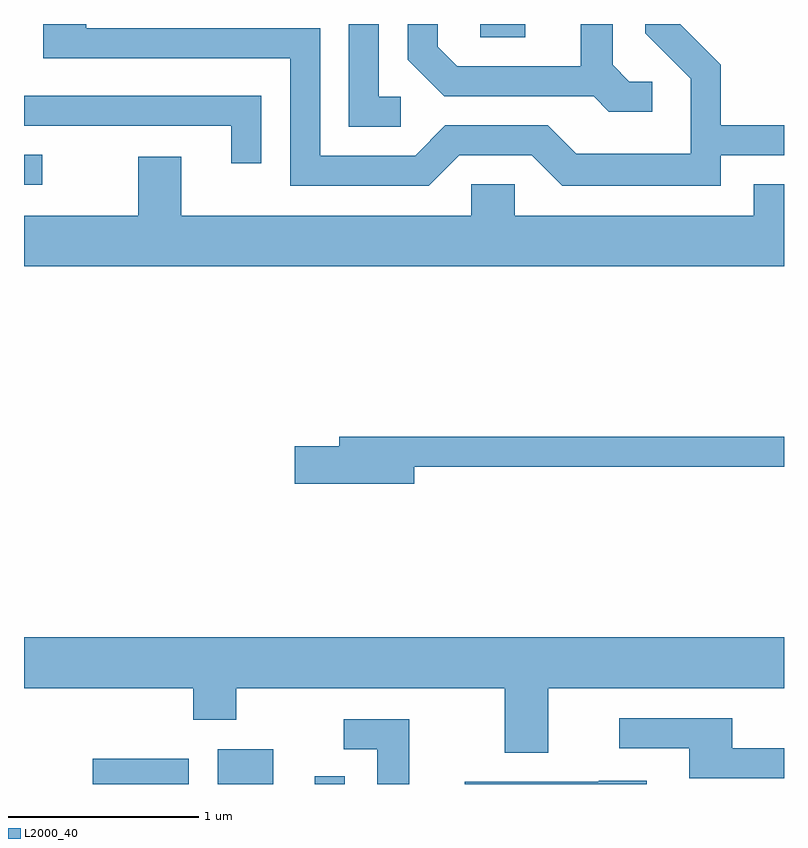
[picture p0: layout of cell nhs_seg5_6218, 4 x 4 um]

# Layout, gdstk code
import gdstk
lib = gdstk.Library(unit=1e-6, precision=1e-09)
def R(c, l, rs):  # rectangles x0, y0, x1, y1
    for r in rs: c.add(gdstk.rectangle(r[:2], r[2:], *l))
def P(c, l, *ps):  # polygons
    for p in ps: c.add(gdstk.Polygon(p, *l))
L2000_40 = (2000, 40)

nhs_seg5_6218 = lib.new_cell('nhs_seg5_6218')
R(nhs_seg5_6218, L2000_40, [(369.973,1454.072,370.479,1454.204), (370.631,1454.072,370.924,1454.254), (371.141,1454.072,371.299,1454.113), (369.611,1457.226,369.708,1457.384), (372.011,1458.001,372.249,1458.072)])
P(nhs_seg5_6218, L2000_40, [(371.902,1457.381),(372.284,1457.381),(372.444,1457.221),(373.279,1457.221),(373.279,1457.381),(373.611,1457.381),(373.611,1457.539),(373.279,1457.539),(373.279,1457.857),(373.064,1458.072),(372.881,1458.072),(372.881,1458.024),(373.121,1457.784),(373.121,1457.389),(372.517,1457.389),(372.367,1457.539),(371.829,1457.539),(371.669,1457.379),(371.169,1457.379),(371.169,1458.049),(369.939,1458.049),(369.939,1458.072),(369.711,1458.072),(369.711,1457.891),(371.011,1457.891),(371.011,1457.221),(371.742,1457.221)],
  [(371.593,1457.689),(371.479,1457.689),(371.479,1458.072),(371.321,1458.072),(371.321,1457.531),(371.593,1457.531)],
  [(372.918,1457.769),(372.797,1457.769),(372.709,1457.857),(372.709,1458.072),(372.541,1458.072),(372.541,1457.849),(371.892,1457.849),(371.789,1457.952),(371.789,1458.072),(371.631,1458.072),(371.631,1457.884),(371.824,1457.691),(372.609,1457.691),(372.689,1457.611),(372.918,1457.611)],
  [(370.859,1457.694),(369.611,1457.694),(369.611,1457.536),(370.701,1457.536),(370.701,1457.338),(370.859,1457.338)],
  [(373.611,1457.229),(373.451,1457.229),(373.451,1457.064),(372.194,1457.064),(372.194,1457.229),(371.966,1457.229),(371.966,1457.064),(370.439,1457.064),(370.439,1457.374),(370.211,1457.374),(370.211,1457.064),(369.611,1457.064),(369.611,1456.796),(373.611,1456.796)],
  [(371.664,1455.741),(373.611,1455.741),(373.611,1455.899),(371.271,1455.899),(371.271,1455.849),(371.036,1455.849),(371.036,1455.651),(371.664,1455.651)],
  [(372.369,1454.576),(373.611,1454.576),(373.611,1454.844),(369.611,1454.844),(369.611,1454.576),(370.501,1454.576),(370.501,1454.411),(370.729,1454.411),(370.729,1454.576),(372.141,1454.576),(372.141,1454.236),(372.369,1454.236)],
  [(373.611,1454.259),(373.339,1454.259),(373.339,1454.419),(372.743,1454.419),(372.743,1454.261),(373.111,1454.261),(373.111,1454.101),(373.611,1454.101)],
  [(371.639,1454.414),(371.293,1454.414),(371.293,1454.256),(371.471,1454.256),(371.471,1454.072),(371.639,1454.072)],
  [(372.889,1454.089),(372.635,1454.089),(372.635,1454.084),(371.931,1454.084),(371.931,1454.072),(372.889,1454.072)])

lib.write_gds('nhs_seg5_6218.gds')
